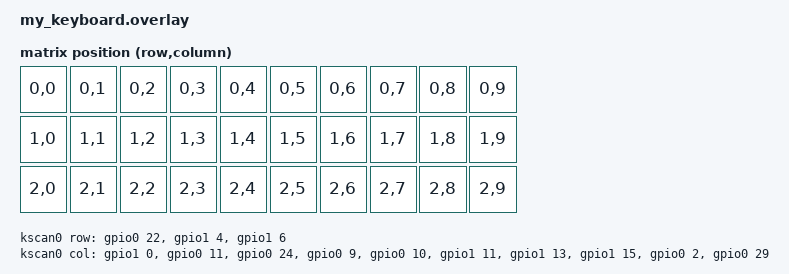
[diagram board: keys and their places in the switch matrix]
#include <dt-bindings/zmk/matrix_transform.h>

/ {
    chosen {
        zmk,kscan = &kscan0;
        zmk,matrix_transform = &default_transform;
        zmk,physical-layout = &physical_layout0;  // 添加这行
    };
    
    default_transform: keymap_transform_0 {
        compatible = "zmk,matrix-transform";
        columns = <10>;
        rows = <3>;
        map = <
            RC(0,0) RC(0,1) RC(0,2) RC(0,3) RC(0,4) RC(0,5) RC(0,6) RC(0,7) RC(0,8) RC(0,9)
            RC(1,0) RC(1,1) RC(1,2) RC(1,3) RC(1,4) RC(1,5) RC(1,6) RC(1,7) RC(1,8) RC(1,9)
            RC(2,0) RC(2,1) RC(2,2) RC(2,3) RC(2,4) RC(2,5) RC(2,6) RC(2,7) RC(2,8) RC(2,9)
        >;
    };
    
    kscan0: kscan {
        compatible = "zmk,kscan-gpio-matrix";
        diode-direction = "col2row";
        
        row-gpios = <&gpio0 22 GPIO_ACTIVE_HIGH>,
                    <&gpio1 4  GPIO_ACTIVE_HIGH>,
                    <&gpio1 6  GPIO_ACTIVE_HIGH>;
                   
        col-gpios = <&gpio1 0  GPIO_ACTIVE_HIGH>,
                    <&gpio0 11 GPIO_ACTIVE_HIGH>,
                    <&gpio0 24 GPIO_ACTIVE_HIGH>,
                    <&gpio0 9  GPIO_ACTIVE_HIGH>,
                    <&gpio0 10 GPIO_ACTIVE_HIGH>,
                    <&gpio1 11 GPIO_ACTIVE_HIGH>,
                    <&gpio1 13 GPIO_ACTIVE_HIGH>,
                    <&gpio1 15 GPIO_ACTIVE_HIGH>,
                    <&gpio0 2  GPIO_ACTIVE_HIGH>,
                    <&gpio0 29 GPIO_ACTIVE_HIGH>;
    };
    
    // 添加物理布局节点 - ZMK Studio 必需
    physical_layout0: physical_layout_0 {
        compatible = "zmk,physical-layout";
        display-name = "tini_keyboard";
        
        // 定义按键布局
        layout {
            // 第0行
            key_0_0 { row = <0>; column = <0>; };
            key_0_1 { row = <0>; column = <1>; };
            key_0_2 { row = <0>; column = <2>; };
            key_0_3 { row = <0>; column = <3>; };
            key_0_4 { row = <0>; column = <4>; };
            key_0_5 { row = <0>; column = <5>; };
            key_0_6 { row = <0>; column = <6>; };
            key_0_7 { row = <0>; column = <7>; };
            key_0_8 { row = <0>; column = <8>; };
            key_0_9 { row = <0>; column = <9>; };
            
            // 第1行
            key_1_0 { row = <1>; column = <0>; };
            key_1_1 { row = <1>; column = <1>; };
            key_1_2 { row = <1>; column = <2>; };
            key_1_3 { row = <1>; column = <3>; };
            key_1_4 { row = <1>; column = <4>; };
            key_1_5 { row = <1>; column = <5>; };
            key_1_6 { row = <1>; column = <6>; };
            key_1_7 { row = <1>; column = <7>; };
            key_1_8 { row = <1>; column = <8>; };
            key_1_9 { row = <1>; column = <9>; };
            
            // 第2行
            key_2_0 { row = <2>; column = <0>; };
            key_2_1 { row = <2>; column = <1>; };
            key_2_2 { row = <2>; column = <2>; };
            key_2_3 { row = <2>; column = <3>; };
            key_2_4 { row = <2>; column = <4>; };
            key_2_5 { row = <2>; column = <5>; };
            key_2_6 { row = <2>; column = <6>; };
            key_2_7 { row = <2>; column = <7>; };
            key_2_8 { row = <2>; column = <8>; };
            key_2_9 { row = <2>; column = <9>; };
        };
    };
};
